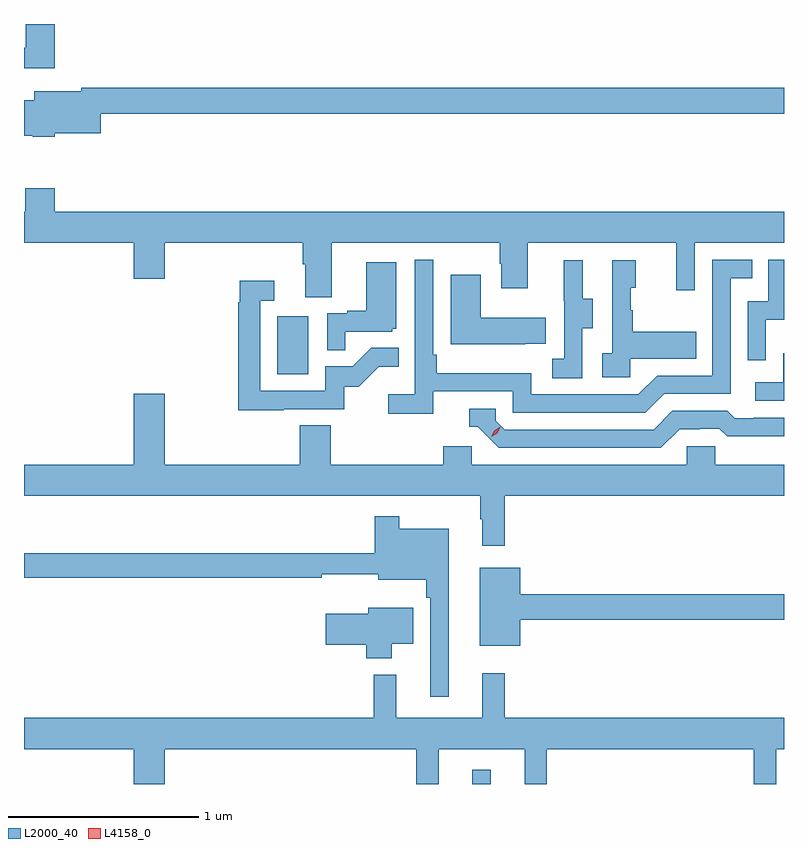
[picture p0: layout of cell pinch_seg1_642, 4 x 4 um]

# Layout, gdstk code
import gdstk
lib = gdstk.Library(unit=1e-6, precision=1e-09)
def R(c, l, rs):  # rectangles x0, y0, x1, y1
    for r in rs: c.add(gdstk.rectangle(r[:2], r[2:], *l))
def P(c, l, *ps):  # polygons
    for p in ps: c.add(gdstk.Polygon(p, *l))
L2000_40 = (2000, 40)
L4158_0 = (4158, 0)

pinch_seg1_642 = lib.new_cell('pinch_seg1_642')
R(pinch_seg1_642, L2000_40, [(1101.855,515.584,1101.952,515.659), (1100.828,517.74,1100.992,518.047)])
P(pinch_seg1_642, L2000_40, [(1099.658,519.584),(1099.505,519.584),(1099.505,519.46),(1099.495,519.46),(1099.495,519.35),(1099.658,519.35)],
  [(1099.656,519.008),(1099.9,519.008),(1099.9,519.112),(1103.495,519.112),(1103.495,519.248),(1099.796,519.248),(1099.796,519.229),(1099.55,519.229),(1099.55,519.184),(1099.495,519.184),(1099.495,518.996),(1099.542,518.996),(1099.542,518.99),(1099.656,518.99)],
  [(1101.115,518.432),(1102,518.432),(1102,518.321),(1102.007,518.321),(1102.007,518.193),(1102.147,518.193),(1102.147,518.432),(1102.928,518.432),(1102.928,518.184),(1103.025,518.184),(1103.025,518.432),(1103.495,518.432),(1103.495,518.596),(1099.658,518.596),(1099.658,518.72),(1099.501,518.72),(1099.501,518.596),(1099.495,518.596),(1099.495,518.432),(1100.072,518.432),(1100.072,518.244),(1100.236,518.244),(1100.236,518.432),(1100.963,518.432),(1100.963,518.32),(1100.975,518.32),(1100.975,518.146),(1101.115,518.146)],
  [(1101.65,517.65),(1102.068,517.65),(1102.068,517.539),(1102.765,517.539),(1102.864,517.638),(1103.214,517.638),(1103.214,518.247),(1103.327,518.247),(1103.327,518.343),(1103.118,518.343),(1103.118,517.734),(1102.827,517.734),(1102.728,517.635),(1102.164,517.635),(1102.164,517.747),(1101.668,517.747),(1101.668,517.843),(1101.648,517.843),(1101.648,518.344),(1101.552,518.344),(1101.552,517.636),(1101.411,517.636),(1101.411,517.534),(1101.65,517.534)],
  [(1103.4,518.027),(1103.495,518.027),(1103.495,518.343),(1103.412,518.343),(1103.412,518.124),(1103.304,518.124),(1103.304,517.815),(1103.4,517.815)],
  [(1102.434,517.984),(1102.489,517.984),(1102.489,518.139),(1102.435,518.139),(1102.435,518.341),(1102.337,518.341),(1102.337,518.127),(1102.338,518.127),(1102.338,517.823),(1102.275,517.823),(1102.275,517.72),(1102.434,517.72)],
  [(1102.686,517.823),(1103.033,517.823),(1103.033,517.963),(1102.699,517.963),(1102.699,518.078),(1102.689,518.078),(1102.689,518.196),(1102.714,518.196),(1102.714,518.341),(1102.59,518.341),(1102.59,517.85),(1102.539,517.85),(1102.539,517.725),(1102.686,517.725)],
  [(1101.185,517.965),(1101.432,517.965),(1101.432,517.98),(1101.454,517.98),(1101.454,518.329),(1101.296,518.329),(1101.296,518.074),(1101.197,518.074),(1101.197,518.061),(1101.09,518.061),(1101.09,517.867),(1101.185,517.867)],
  [(1102.133,517.901),(1102.241,517.901),(1102.241,518.038),(1101.898,518.038),(1101.898,518.263),(1101.74,518.263),(1101.74,517.898),(1102.133,517.898)],
  [(1100.861,517.557),(1101.18,517.557),(1101.18,517.674),(1101.256,517.674),(1101.363,517.781),(1101.467,517.781),(1101.467,517.88),(1101.323,517.88),(1101.225,517.782),(1101.081,517.782),(1101.081,517.653),(1100.739,517.653),(1100.739,518.127),(1100.812,518.127),(1100.812,518.233),(1100.631,518.233),(1100.631,518.12),(1100.623,518.12),(1100.623,517.552),(1100.861,517.552)],
  [(1103.495,517.852),(1103.49,517.852),(1103.49,517.698),(1103.343,517.698),(1103.343,517.602),(1103.495,517.602)],
  [(1102.025,517.1),(1103.495,517.1),(1103.495,517.264),(1103.133,517.264),(1103.133,517.362),(1102.983,517.362),(1102.983,517.264),(1101.852,517.264),(1101.852,517.362),(1101.701,517.362),(1101.701,517.264),(1101.11,517.264),(1101.11,517.472),(1100.945,517.472),(1100.945,517.264),(1100.236,517.264),(1100.236,517.639),(1100.072,517.639),(1100.072,517.264),(1099.495,517.264),(1099.495,517.1),(1101.897,517.1),(1101.897,516.977),(1101.908,516.977),(1101.908,516.837),(1102.025,516.837)],
  [(1102.945,517.452),(1103.052,517.452),(1103.052,517.455),(1103.155,517.455),(1103.197,517.413),(1103.43,517.413),(1103.43,517.415),(1103.495,517.415),(1103.495,517.512),(1103.335,517.512),(1103.335,517.509),(1103.236,517.509),(1103.197,517.548),(1102.908,517.548),(1102.809,517.449),(1102.026,517.449),(1101.978,517.497),(1101.978,517.56),(1101.839,517.56),(1101.839,517.464),(1101.882,517.464),(1101.993,517.353),(1102.846,517.353)],
  [(1101.73,516.928),(1101.469,516.928),(1101.469,516.994),(1101.34,516.994),(1101.34,516.799),(1099.495,516.799),(1099.495,516.67),(1101.063,516.67),(1101.063,516.689),(1101.359,516.689),(1101.359,516.659),(1101.613,516.659),(1101.613,516.563),(1101.633,516.563),(1101.633,516.042),(1101.73,516.042)],
  [(1102.108,516.448),(1103.495,516.448),(1103.495,516.584),(1102.108,516.584),(1102.108,516.721),(1101.893,516.721),(1101.893,516.311),(1102.108,516.311)],
  [(1101.43,516.323),(1101.544,516.323),(1101.544,516.511),(1101.308,516.511),(1101.308,516.481),(1101.084,516.481),(1101.084,516.316),(1101.296,516.316),(1101.296,516.245),(1101.43,516.245)],
  [(1102.025,516.166),(1101.908,516.166),(1101.908,515.932),(1101.455,515.932),(1101.455,516.16),(1101.337,516.16),(1101.337,515.932),(1099.495,515.932),(1099.495,515.768),(1100.072,515.768),(1100.072,515.584),(1100.236,515.584),(1100.236,515.768),(1101.559,515.768),(1101.559,515.584),(1101.677,515.584),(1101.677,515.768),(1102.13,515.768),(1102.13,515.584),(1102.247,515.584),(1102.247,515.768),(1103.335,515.768),(1103.335,515.584),(1103.453,515.584),(1103.453,515.768),(1103.495,515.768),(1103.495,515.932),(1102.025,515.932)])
P(pinch_seg1_642, L4158_0, [(1101.955,517.411),(1101.955,517.411),(1101.971,517.444),(1102.001,517.463),(1102.002,517.463),(1102.002,517.463),(1101.986,517.43),(1101.955,517.411)])

lib.write_gds('pinch_seg1_642.gds')
